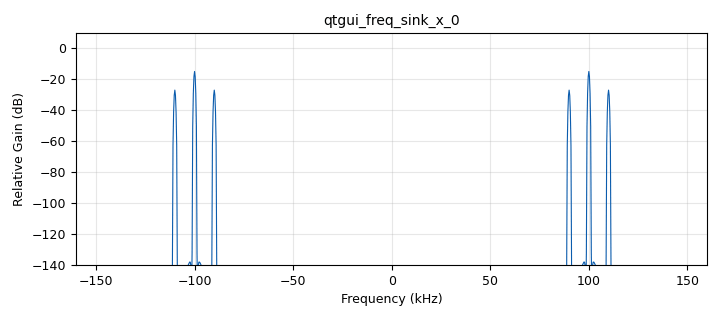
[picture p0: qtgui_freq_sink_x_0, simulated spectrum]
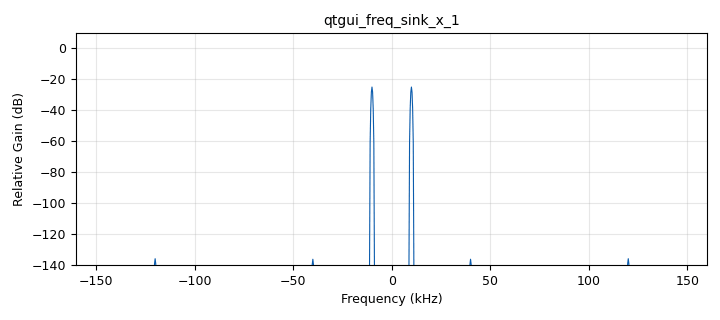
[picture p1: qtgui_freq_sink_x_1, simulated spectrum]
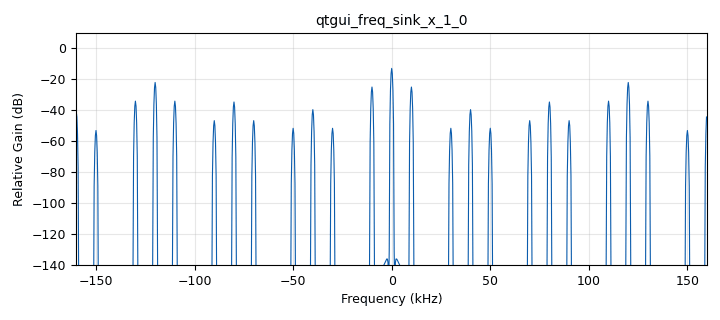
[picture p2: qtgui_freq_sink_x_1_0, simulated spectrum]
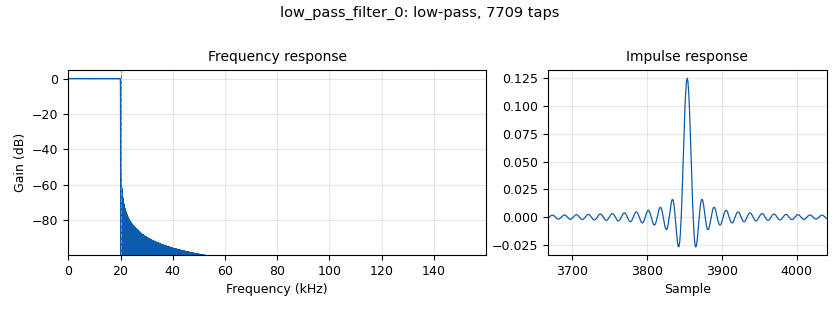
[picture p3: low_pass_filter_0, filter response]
options:
  parameters:
    generate_options: qt_gui
    id: dsbfc
    output_language: python
    title: Not titled yet
  states: {}

blocks:
- name: samp_rate
  id: variable
  parameters:
    value: '320000'
  states: {}
- name: analog_sig_source_x_0_0
  id: analog_sig_source_x
  parameters:
    amp: '1'
    freq: '100000'
    offset: '0'
    phase: '0'
    samp_rate: samp_rate
    type: float
    waveform: analog.GR_COS_WAVE
  states: {}
- name: analog_sig_source_x_0_0_0
  id: analog_sig_source_x
  parameters:
    amp: '1'
    freq: '10000'
    offset: '0'
    phase: '0'
    samp_rate: samp_rate
    type: float
    waveform: analog.GR_COS_WAVE
  states: {}
- name: blocks_abs_xx_0
  id: blocks_abs_xx
  parameters:
    type: float
  states: {}
- name: blocks_add_const_vxx_0
  id: blocks_add_const_vxx
  parameters:
    const: '1'
    type: float
  states: {}
- name: blocks_multiply_const_vxx_0
  id: blocks_multiply_const_vxx
  parameters:
    const: '0.5'
    type: float
  states: {}
- name: blocks_multiply_xx_0
  id: blocks_multiply_xx
  parameters:
    type: float
  states: {}
- name: dc_blocker_xx_0
  id: dc_blocker_xx
  parameters:
    length: '32'
    long_form: 'True'
    type: ff
  states: {}
- name: low_pass_filter_0
  id: low_pass_filter
  parameters:
    cutoff_freq: '20000'
    decim: '1'
    gain: '1'
    samp_rate: samp_rate
    type: fir_filter_fff
    width: '100'
    win: window.WIN_HAMMING
  states: {}
- name: qtgui_freq_sink_x_0
  id: qtgui_freq_sink_x
  parameters:
    bw: samp_rate
    fc: '0'
    fftsize: '1024'
    type: float
  states: {}
- name: qtgui_freq_sink_x_1
  id: qtgui_freq_sink_x
  parameters:
    bw: samp_rate
    fc: '0'
    fftsize: '1024'
    type: float
  states: {}
- name: qtgui_freq_sink_x_1_0
  id: qtgui_freq_sink_x
  parameters:
    bw: samp_rate
    fc: '0'
    fftsize: '1024'
    type: float
  states: {}
- name: virtual_sink_0
  id: virtual_sink
  parameters:
    stream_id: '1'
  states: {}
- name: virtual_source_0
  id: virtual_source
  parameters:
    stream_id: '1'
  states: {}

connections:
- [analog_sig_source_x_0_0, '0', blocks_multiply_xx_0, '1']
- [analog_sig_source_x_0_0_0, '0', blocks_multiply_const_vxx_0, '0']
- [blocks_abs_xx_0, '0', dc_blocker_xx_0, '0']
- [blocks_abs_xx_0, '0', qtgui_freq_sink_x_1_0, '0']
- [blocks_add_const_vxx_0, '0', blocks_multiply_xx_0, '0']
- [blocks_multiply_const_vxx_0, '0', blocks_add_const_vxx_0, '0']
- [blocks_multiply_xx_0, '0', qtgui_freq_sink_x_0, '0']
- [blocks_multiply_xx_0, '0', virtual_sink_0, '0']
- [dc_blocker_xx_0, '0', low_pass_filter_0, '0']
- [low_pass_filter_0, '0', qtgui_freq_sink_x_1, '0']
- [virtual_source_0, '0', blocks_abs_xx_0, '0']

metadata:
  file_format: 1
  grc_version: 3.10.7.0
